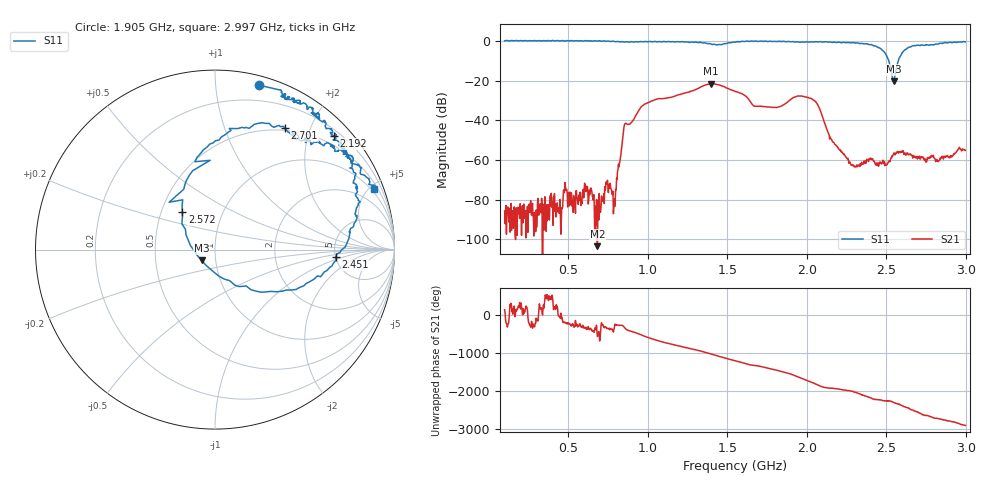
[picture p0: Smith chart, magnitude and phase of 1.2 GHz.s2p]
# HZ S RI R 50
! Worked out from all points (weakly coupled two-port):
!   1009 points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, 100 MHz to 2.997 GHz, reference 50 ohm
!   highest |S21| = -21.59 dB at 1.396 GHz (marker M1); lowest = -103.5 dB at 683.4 MHz (marker M2)
!   lowest |S11| = -20.4 dB at 2.546 GHz (marker M3), VSWR 1.21, Z = 42.8 - j5.21 ohm
!   |S11| at or under -10 dB: 2.515 GHz to 2.576 GHz (60.7 MHz wide, 2.38 % of centre)
!   S12 and S22 are empty: the file has one direction only
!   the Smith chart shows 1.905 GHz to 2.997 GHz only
!   S11 on the Smith chart (normalised r, x): 1.905 GHz: 0.07, +1.30; 2.192 GHz: 0.31, +2.46; 2.451 GHz: 5.01, -0.80; 2.572 GHz: 0.64, +0.29; 2.701 GHz: 0.47, +1.63; 2.997 GHz: 0.80, +5.30
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1e8  -0.9964 0.1021  -3.7e-05 3.6e-05  0 0  0 0
5.828543e8  -0.831 0.5693  4.9e-05 7.8e-05  0 0  0 0
6.087215e8  -0.8135 0.5989  0.000201 5.2e-05  0 0  0 0
6.83449e8  -0.745 0.6608  -6e-06 3e-06  0 0  0 0
7.495541e8  -0.6923 0.713  0.000229 -2e-06  0 0  0 0
7.897919e8  -0.6465 0.7257  0.0001 2.4e-05  0 0  0 0
8.616452e8  -0.6371 0.6984  0.00825 -0.00103  0 0  0 0
1.065709e9  -0.4436 0.8503  0.0267 0.0226  0 0  0 0
1.396234e9  -0.0982 0.8348  0.05 0.0665  0 0  0 0
1.548563e9  -0.1205 0.9197  -0.0295 -0.0447  0 0  0 0
1.680773e9  0.0656 0.9922  -0.00658 0.0215  0 0  0 0
1.904956e9  0.2445 0.9162  -0.0202 -0.0287  0 0  0 0
2.031417e9  0.4738 0.8297  0.031 0.0155  0 0  0 0
2.192369e9  0.6627 0.6331  -0.00176 -0.0013  0 0  0 0
2.292963e9  0.7624 0.4889  -0.000575 0.00045  0 0  0 0
2.451041e9  0.673 -0.0434  0.000193 -0.000663  0 0  0 0
2.514272e9  0.2298 -0.2316  -0.000212 -0.000845  0 0  0 0
2.545887e9  -0.0741 -0.0603  -0.00118 -0.000788  0 0  0 0
2.571754e9  -0.182 0.2092  -0.00154 4.1e-05  0 0  0 0
2.626363e9  0.0338 0.6261  0.000119 0.00144  0 0  0 0
2.70109e9  0.3898 0.6787  0.000782 -0.000847  0 0  0 0
2.997126e9  0.8847 0.3383  0.00152 -0.000846  0 0  0 0
